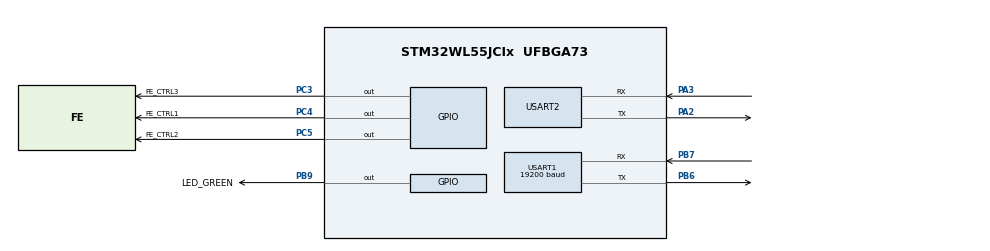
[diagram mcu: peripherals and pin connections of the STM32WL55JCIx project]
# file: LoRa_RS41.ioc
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Dma.Request0=USART1_TX
Dma.Request1=USART1_RX
Dma.Request2=USART2_RX
Dma.Request3=USART2_TX
Dma.USART1_RX.1.Channel_PRIV_NPRIV=DMA_CHANNEL_NPRIV_DISABLE
Dma.USART1_RX.1.Direction=DMA_PERIPH_TO_MEMORY
Dma.USART1_RX.1.EventEnable=DISABLE
Dma.USART1_RX.1.Instance=DMA1_Channel2
Dma.USART1_RX.1.MemDataAlignment=DMA_MDATAALIGN_BYTE
Dma.USART1_RX.1.MemInc=DMA_MINC_ENABLE
Dma.USART1_RX.1.Mode=DMA_CIRCULAR
Dma.USART1_RX.1.PeriphDataAlignment=DMA_PDATAALIGN_BYTE
Dma.USART1_RX.1.PeriphInc=DMA_PINC_DISABLE
Dma.USART1_RX.1.Polarity=HAL_DMAMUX_REQ_GEN_RISING
Dma.USART1_RX.1.Priority=DMA_PRIORITY_LOW
Dma.USART1_RX.1.RequestNumber=1
Dma.USART1_RX.1.SignalID=NONE
Dma.USART1_RX.1.SyncEnable=DISABLE
Dma.USART1_RX.1.SyncPolarity=HAL_DMAMUX_SYNC_NO_EVENT
Dma.USART1_RX.1.SyncRequestNumber=1
Dma.USART1_RX.1.SyncSignalID=NONE
Dma.USART1_TX.0.Channel_PRIV_NPRIV=DMA_CHANNEL_NPRIV_DISABLE
Dma.USART1_TX.0.Direction=DMA_MEMORY_TO_PERIPH
Dma.USART1_TX.0.EventEnable=DISABLE
Dma.USART1_TX.0.Instance=DMA1_Channel1
Dma.USART1_TX.0.MemDataAlignment=DMA_MDATAALIGN_BYTE
Dma.USART1_TX.0.MemInc=DMA_MINC_ENABLE
Dma.USART1_TX.0.Mode=DMA_CIRCULAR
Dma.USART1_TX.0.PeriphDataAlignment=DMA_PDATAALIGN_BYTE
Dma.USART1_TX.0.PeriphInc=DMA_PINC_DISABLE
Dma.USART1_TX.0.Polarity=HAL_DMAMUX_REQ_GEN_RISING
Dma.USART1_TX.0.Priority=DMA_PRIORITY_LOW
Dma.USART1_TX.0.RequestNumber=1
Dma.USART1_TX.0.SignalID=NONE
Dma.USART1_TX.0.SyncEnable=DISABLE
Dma.USART1_TX.0.SyncPolarity=HAL_DMAMUX_SYNC_NO_EVENT
Dma.USART1_TX.0.SyncRequestNumber=1
Dma.USART1_TX.0.SyncSignalID=NONE
Dma.USART2_RX.2.Channel_PRIV_NPRIV=DMA_CHANNEL_NPRIV_DISABLE
Dma.USART2_RX.2.Direction=DMA_PERIPH_TO_MEMORY
Dma.USART2_RX.2.EventEnable=DISABLE
Dma.USART2_RX.2.Instance=DMA1_Channel3
Dma.USART2_RX.2.MemDataAlignment=DMA_MDATAALIGN_BYTE
Dma.USART2_RX.2.MemInc=DMA_MINC_ENABLE
Dma.USART2_RX.2.Mode=DMA_CIRCULAR
Dma.USART2_RX.2.PeriphDataAlignment=DMA_PDATAALIGN_BYTE
Dma.USART2_RX.2.PeriphInc=DMA_PINC_DISABLE
Dma.USART2_RX.2.Polarity=HAL_DMAMUX_REQ_GEN_RISING
Dma.USART2_RX.2.Priority=DMA_PRIORITY_LOW
Dma.USART2_RX.2.RequestNumber=1
Dma.USART2_RX.2.SignalID=NONE
Dma.USART2_RX.2.SyncEnable=DISABLE
Dma.USART2_RX.2.SyncPolarity=HAL_DMAMUX_SYNC_NO_EVENT
Dma.USART2_RX.2.SyncRequestNumber=1
Dma.USART2_RX.2.SyncSignalID=NONE
Dma.USART2_TX.3.Channel_PRIV_NPRIV=DMA_CHANNEL_NPRIV_DISABLE
Dma.USART2_TX.3.Direction=DMA_MEMORY_TO_PERIPH
Dma.USART2_TX.3.EventEnable=DISABLE
Dma.USART2_TX.3.Instance=DMA1_Channel4
Dma.USART2_TX.3.MemDataAlignment=DMA_MDATAALIGN_BYTE
Dma.USART2_TX.3.MemInc=DMA_MINC_ENABLE
Dma.USART2_TX.3.Mode=DMA_CIRCULAR
Dma.USART2_TX.3.PeriphDataAlignment=DMA_PDATAALIGN_BYTE
Dma.USART2_TX.3.PeriphInc=DMA_PINC_DISABLE
Dma.USART2_TX.3.Polarity=HAL_DMAMUX_REQ_GEN_RISING
Dma.USART2_TX.3.Priority=DMA_PRIORITY_LOW
Dma.USART2_TX.3.RequestNumber=1
Dma.USART2_TX.3.SignalID=NONE
Dma.USART2_TX.3.SyncEnable=DISABLE
Dma.USART2_TX.3.SyncPolarity=HAL_DMAMUX_SYNC_NO_EVENT
Dma.USART2_TX.3.SyncRequestNumber=1
Dma.USART2_TX.3.SyncSignalID=NONE
Mcu.Family=STM32WL
Mcu.Name=STM32WL55JCIx
Mcu.Package=UFBGA73
NVIC.DMA1_Channel1_IRQn=true\:0\:0\:false\:false\:true\:false\:true\:true
NVIC.DMA1_Channel2_IRQn=true\:0\:0\:false\:false\:true\:false\:true\:true
NVIC.DMA1_Channel3_IRQn=true\:0\:0\:false\:false\:true\:false\:true\:true
NVIC.DMA1_Channel4_IRQn=true\:0\:0\:false\:false\:true\:false\:true\:true
NVIC.PriorityGroup=NVIC_PRIORITYGROUP_4
NVIC.SUBGHZ_Radio_IRQn=true\:0\:0\:false\:false\:true\:true\:true\:true
NVIC.USART1_IRQn=true\:0\:0\:false\:false\:true\:true\:true\:true
NVIC.USART2_IRQn=true\:0\:0\:false\:false\:true\:true\:true\:true
PA2.Mode=Asynchronous
PA2.Signal=USART2_TX
PA3.Mode=Asynchronous
PA3.Signal=USART2_RX
PB6.Mode=Asynchronous
PB6.Signal=USART1_TX
PB7.Mode=Asynchronous
PB7.Signal=USART1_RX
PB9.GPIO_Label=LED_GREEN
PB9.Signal=GPIO_Output
PC14-OSC32_IN.GPIO_Label=RCC_OSC32_IN
PC14-OSC32_IN.Signal=RCC_OSC32_IN
PC15-OSC32_OUT.GPIO_Label=RCC_OSC32_OUT
PC15-OSC32_OUT.Signal=RCC_OSC32_OUT
PC3.GPIO_Label=FE_CTRL3
PC3.GPIO_Speed=GPIO_SPEED_FREQ_VERY_HIGH
PC3.Signal=GPIO_Output
PC4.GPIO_Label=FE_CTRL1
PC4.GPIO_Speed=GPIO_SPEED_FREQ_VERY_HIGH
PC4.Signal=GPIO_Output
PC5.GPIO_Label=FE_CTRL2
PC5.GPIO_Speed=GPIO_SPEED_FREQ_VERY_HIGH
PC5.Signal=GPIO_Output
ProjectManager.HeapSize=0x200
ProjectManager.StackSize=0x400
ProjectManager.TargetToolchain=STM32CubeIDE
RCC.HSE_VALUE=32000000
RCC.HSI_VALUE=16000000
RCC.LSE_VALUE=32768
RCC.VCOOutputFreq_Value=32000000
USART1.BaudRate=19200
USART1.VirtualMode-Asynchronous=VM_ASYNC
USART2.VirtualMode-Asynchronous=VM_ASYNC
VP_SUBGHZ_VS_SUBGHZ.Mode=SUBGHZ_Activate
board=NUCLEO-WL55JC1

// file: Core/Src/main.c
/* USER CODE BEGIN Header */
/**
  ******************************************************************************
  * @file           : main.c
  * @brief          : Firmware da Placa 1 - LoRa_RS41 (SLAVE NODE)
  *                   Parser da Radiosonda + Resposta a Comandos LoRa
  ******************************************************************************
  */
/* USER CODE END Header */
#include "main.h"
#include "dma.h"
#include "subghz.h"
#include "usart.h"
#include "gpio.h"
#include "stm32wlxx_nucleo.h"
#include <string.h>
#include <stdio.h>
#include <stdbool.h>
#include "radio_driver.h"
#include "protocol.h"

/* USER CODE BEGIN 0 */
// Redireciona a saída do printf para a USART2 (nossa porta de debug para o PC)
int _write(int file, char *ptr, int len)
{
  HAL_UART_Transmit(&huart2, (uint8_t*)ptr, len, HAL_MAX_DELAY);
  return len;
}
/* USER CODE END 0 */

/* USER CODE BEGIN PD */
// --- Definições do Payload de Telemetria ---
typedef struct __attribute__((packed)) {
    uint32_t packet_id;
    int32_t  latitude_raw;
    int32_t  longitude_raw;
    int32_t  altitude_raw;
    uint16_t voltage_mv;
    int8_t   radio_temp_c;
    uint8_t  sats_and_fix;
} LoRaPayload_t;

// --- Parser da Radiosonda ---
const uint8_t SYNC_WORD = 0xAA;
#define TELEMETRY_PAYLOAD_SIZE sizeof(LoRaPayload_t)

enum ParserState { AWAITING_SYNC, RECEIVING_PAYLOAD, AWAITING_CHECKSUM };

#define RADIOSONDE_UART_BUFFER_SIZE 256

// --- Parâmetros LoRa ---
#define RF_FREQUENCY                                915000000 // Hz
#define TX_OUTPUT_POWER                             22        // dBm
#define LORA_BANDWIDTH                              0         // 0: 125 kHz
#define LORA_SPREADING_FACTOR                       10        // SF10
#define LORA_CODINGRATE                             4         // 4: 4/8
#define LORA_PREAMBLE_LENGTH                        8
/* USER CODE END PD */

/* USER CODE BEGIN PV */
// --- Variáveis do Parser da Radiosonda ---
uint8_t radiosonde_rx_buffer[RADIOSONDE_UART_BUFFER_SIZE];
uint16_t old_pos = 0;
uint8_t payloadBuffer[TELEMETRY_PAYLOAD_SIZE];
int byteCounter = 0;
enum ParserState currentState = AWAITING_SYNC;

// --- Variáveis da Comunicação LoRa ---
uint8_t lora_rx_buffer[MAX_PACKET_SIZE]; // Buffer para receber comandos
LoRaPayload_t latest_telemetry; // Última telemetria válida da radiosonda
volatile bool telemetry_available = false; // Flag indicando se há telemetria válida
volatile bool lora_tx_busy = false; // Flag para controlar transmissão LoRa

// Array de lookup para Bandwidth
const RadioLoRaBandwidths_t Bandwidths[] = { LORA_BW_125, LORA_BW_250, LORA_BW_500 };
/* USER CODE END PV */

void SystemClock_Config(void);
/* USER CODE BEGIN PFP */
void Radio_Init(void);
void ProcessByte(uint8_t receivedByte);
void ProcessLoRaCommand(uint8_t* buffer, uint8_t size);
void SendTelemetryResponse(void);
void SendAckResponse(uint32_t sequence_number);
uint8_t calculate_checksum(uint8_t* data, int length);
void RadioOnDioIrq(RadioIrqMasks_t radioIrq);
/* USER CODE END PFP */

int main(void)
{
  /* MCU Configuration--------------------------------------------------------*/
  HAL_Init();
  SystemClock_Config();
  MX_GPIO_Init();
  MX_DMA_Init();
  MX_USART1_UART_Init();  // UART da Radiosonda
  MX_USART2_UART_Init();  // UART de Debug para o PC
  MX_SUBGHZ_Init();

  /* USER CODE BEGIN 2 */
  BSP_LED_Init(LED_GREEN);

  printf("\r\n--- LoRa_RS41 (SLAVE NODE) ---\r\n");
  printf("Parser da Radiosonda + Resposta a Comandos LoRa\r\n");

  Radio_Init();
  printf("Radio LoRa inicializado em modo SLAVE.\r\n");

  // Inicia a recepção via DMA na USART1 (radiosonda)
  HAL_UART_Receive_DMA(&huart1, radiosonde_rx_buffer, RADIOSONDE_UART_BUFFER_SIZE);
  printf("Parser da radiosonda ativo na USART1.\r\n");

  // Coloca o rádio LoRa em modo de recepção contínua (aguardando comandos)
  SUBGRF_SetRx(0); // Timeout 0 = recepção contínua
  printf("Aguardando comandos LoRa da estacao base...\r\n");
  /* USER CODE END 2 */

  /* Infinite loop */
  /* USER CODE BEGIN WHILE */
  while (1)
  {
    // --- Processa dados da radiosonda via DMA ---
    uint16_t new_pos = RADIOSONDE_UART_BUFFER_SIZE - __HAL_DMA_GET_COUNTER(huart1.hdmarx);
    if (new_pos != old_pos)
    {
      if (new_pos > old_pos) {
        for (int i = old_pos; i < new_pos; i++) {
          ProcessByte(radiosonde_rx_buffer[i]);
        }
      } else { // Wrap-around
        for (int i = old_pos; i < RADIOSONDE_UART_BUFFER_SIZE; i++) {
          ProcessByte(radiosonde_rx_buffer[i]);
        }
        for (int i = 0; i < new_pos; i++) {
          ProcessByte(radiosonde_rx_buffer[i]);
        }
      }
      old_pos = new_pos;
    }

    // O processamento de comandos LoRa acontece nos callbacks de interrupção
    // O processador pode entrar em modo sleep para economizar energia
    HAL_PWR_EnterSLEEPMode(PWR_MAINREGULATOR_ON, PWR_SLEEPENTRY_WFI);
  }
  /* USER CODE END WHILE */
}

void SystemClock_Config(void)
{
  RCC_OscInitTypeDef RCC_OscInitStruct = {0};
  RCC_ClkInitTypeDef RCC_ClkInitStruct = {0};

  HAL_PWR_EnableBkUpAccess();
  __HAL_RCC_LSEDRIVE_CONFIG(RCC_LSEDRIVE_LOW);
  __HAL_PWR_VOLTAGESCALING_CONFIG(PWR_REGULATOR_VOLTAGE_SCALE1);

  RCC_OscInitStruct.OscillatorType = RCC_OSCILLATORTYPE_LSE|RCC_OSCILLATORTYPE_MSI;
  RCC_OscInitStruct.LSEState = RCC_LSE_ON;
  RCC_OscInitStruct.MSIState = RCC_MSI_ON;
  RCC_OscInitStruct.MSICalibrationValue = RCC_MSICALIBRATION_DEFAULT;
  RCC_OscInitStruct.MSIClockRange = RCC_MSIRANGE_11;
  RCC_OscInitStruct.PLL.PLLState = RCC_PLL_NONE;
  if (HAL_RCC_OscConfig(&RCC_OscInitStruct) != HAL_OK)
  {
    Error_Handler();
  }

  RCC_ClkInitStruct.ClockType = RCC_CLOCKTYPE_HCLK3|RCC_CLOCKTYPE_HCLK
                              |RCC_CLOCKTYPE_SYSCLK|RCC_CLOCKTYPE_PCLK1
                              |RCC_CLOCKTYPE_PCLK2;
  RCC_ClkInitStruct.SYSCLKSource = RCC_SYSCLKSOURCE_MSI;
  RCC_ClkInitStruct.AHBCLKDivider = RCC_SYSCLK_DIV1;
  RCC_ClkInitStruct.APB1CLKDivider = RCC_HCLK_DIV1;
  RCC_ClkInitStruct.APB2CLKDivider = RCC_HCLK_DIV1;
  RCC_ClkInitStruct.AHBCLK3Divider = RCC_SYSCLK_DIV1;

  if (HAL_RCC_ClockConfig(&RCC_ClkInitStruct, FLASH_LATENCY_2) != HAL_OK)
  {
    Error_Handler();
  }
}

/* USER CODE BEGIN 4 */
// --- Implementação das Funções ---

void ProcessByte(uint8_t receivedByte)
{
  switch (currentState)
  {
    case AWAITING_SYNC:
      if (receivedByte == SYNC_WORD) {
        byteCounter = 0;
        currentState = RECEIVING_PAYLOAD;
      }
      break;

    case RECEIVING_PAYLOAD:
      if (byteCounter < TELEMETRY_PAYLOAD_SIZE) {
        payloadBuffer[byteCounter++] = receivedByte;
      }
      if (byteCounter >= TELEMETRY_PAYLOAD_SIZE) {
        currentState = AWAITING_CHECKSUM;
      }
      break;

    case AWAITING_CHECKSUM:
      {
        uint8_t receivedChecksum = receivedByte;
        uint8_t calculatedChecksum = calculate_checksum(payloadBuffer, TELEMETRY_PAYLOAD_SIZE);

        if (receivedChecksum == calculatedChecksum) {
          // Atualiza a telemetria mais recente
          memcpy(&latest_telemetry, payloadBuffer, TELEMETRY_PAYLOAD_SIZE);
          telemetry_available = true;

          printf("Telemetria atualizada - ID: %lu\r\n", latest_telemetry.packet_id);
          BSP_LED_Toggle(LED_GREEN);
        } else {
          printf("Falha no Checksum radiosonda! Esperado: 0x%02X, Recebido: 0x%02X\r\n",
                 calculatedChecksum, receivedChecksum);
        }
        currentState = AWAITING_SYNC;
      }
      break;
  }
}

void SendResetCommandToRS41(void)
{
    // O pacote completo terá 5 bytes: SYNC + CMD + PARAM + LEN + CHECKSUM
    uint8_t packet_to_send[MAX_PACKET_SIZE];

    // --- Montagem do Pacote ---

    // Byte 0: Palavra de Sincronização
    packet_to_send[0] = 0xAA; //Palavra de sincronização #define CMD_SYNC_WORD   0xAA

    // Byte 1: ID do Comando (Ação)
    packet_to_send[1] = 0x04; // ID do comando #define CMD_EXECUTE     0x04

    // Byte 2: ID do Parâmetro (Alvo)
    packet_to_send[2] = 0x01; // ID da ação específica #define PARAM_MCU_RESET 0x01

    // Byte 3: Comprimento do Payload de Dados (0 para este comando)
    packet_to_send[3] = 0x00;

    // --- Cálculo do Checksum ---
    // O checksum é calculado sobre os bytes do payload: CMD_ID, PARAM_ID e LEN.
    // Portanto, calculamos sobre 3 bytes, começando do índice 1 do nosso buffer.
    uint8_t checksum = calculate_checksum(&packet_to_send[1], 3);

    // Byte 4: Checksum
    packet_to_send[4] = checksum;

    // --- Transmissão via UART ---
    printf("Enviando comando de RESET para a RS41 via UART...\r\n");
    HAL_UART_Transmit(&huart1, packet_to_send, sizeof(packet_to_send), HAL_MAX_DELAY);
}

void SendResetResponse(void)
{
    if (lora_tx_busy) {
        printf("WARN: Radio ocupado, resposta descartada.\r\n");
        return;
    }

    lora_tx_busy = true;
    printf("Enviando comando de reset - ID: %lu\r\n", latest_telemetry.packet_id);

    // --- LÓGICA CORRIGIDA ---

    // 1. Crie um buffer de transmissão na pilha com o tamanho MÁXIMO padronizado.
    //    Esta é a correção crucial. Agora 'tx_buffer' é um array real com memória alocada.
    uint8_t tx_buffer[TELEMETRY_PAYLOAD_SIZE];
    // 2. Limpe o buffer com zeros para garantir que o padding seja 0x00.
    memset(tx_buffer, 0, TELEMETRY_PAYLOAD_SIZE);

    // 3. Copie os dados de telemetria reais para o início do buffer maior.
    memcpy(tx_buffer, &latest_telemetry, TELEMETRY_PAYLOAD_SIZE); // Use sizeof() para segurança

    // 4. Configure o rádio para enviar um pacote do tamanho MÁXIMO.
    PacketParams_t packetParams;
    packetParams.PacketType = PACKET_TYPE_LORA;
    packetParams.Params.LoRa.PreambleLength = LORA_PREAMBLE_LENGTH;
    packetParams.Params.LoRa.HeaderType = LORA_PACKET_FIXED_LENGTH;
    packetParams.Params.LoRa.PayloadLength = TELEMETRY_PAYLOAD_SIZE;
    packetParams.Params.LoRa.CrcMode = LORA_CRC_ON;
    packetParams.Params.LoRa.InvertIQ = LORA_IQ_NORMAL;
    SUBGRF_SetPacketParams(&packetParams);

    // 5. Envie o buffer completo de tamanho máximo.
    SUBGRF_SendPayload(tx_buffer, TELEMETRY_PAYLOAD_SIZE, 0);
}

void SendTelemetryResponse(void)
{
    if (lora_tx_busy) {
        printf("WARN: Radio ocupado, resposta descartada.\r\n");
        return;
    }

    if (!telemetry_available) {
        printf("WARN: Nenhuma telemetria disponível.\r\n");
        return;
    }

    lora_tx_busy = true;
    printf("Enviando telemetria - ID: %lu\r\n", latest_telemetry.packet_id);

    // --- LÓGICA CORRIGIDA ---

    // 1. Crie um buffer de transmissão na pilha com o tamanho MÁXIMO padronizado.
    //    Esta é a correção crucial. Agora 'tx_buffer' é um array real com memória alocada.
    uint8_t tx_buffer[TELEMETRY_PAYLOAD_SIZE];

    // 2. Limpe o buffer com zeros para garantir que o padding seja 0x00.
//    memset(tx_buffer, 0, TELEMETRY_PAYLOAD_SIZE);

    // 3. Copie os dados de telemetria reais para o início do buffer maior.
    memcpy(tx_buffer, &latest_telemetry, TELEMETRY_PAYLOAD_SIZE); // Use sizeof() para segurança

    // 4. Configure o rádio para enviar um pacote do tamanho MÁXIMO.
    PacketParams_t packetParams;
    packetParams.PacketType = PACKET_TYPE_LORA;
    packetParams.Params.LoRa.PreambleLength = LORA_PREAMBLE_LENGTH;
    packetParams.Params.LoRa.HeaderType = LORA_PACKET_FIXED_LENGTH;
    packetParams.Params.LoRa.PayloadLength = TELEMETRY_PAYLOAD_SIZE;
    packetParams.Params.LoRa.CrcMode = LORA_CRC_ON;
    packetParams.Params.LoRa.InvertIQ = LORA_IQ_NORMAL;
    SUBGRF_SetPacketParams(&packetParams);

    // 5. Envie o buffer completo de tamanho máximo.
    SUBGRF_SendPayload(tx_buffer, TELEMETRY_PAYLOAD_SIZE, 0);
}

void ProcessLoRaCommand(uint8_t* buffer, uint8_t size)
{
    if (size != MAX_PACKET_SIZE) {
        printf("ERRO: Comando LoRa com tamanho inválido: %d\r\n", size);
        return;
    }

    CommandPacket_t* command = (CommandPacket_t*)buffer;

    printf("Comando recebido: %d, Seq: %lu\r\n", command->command_type, command->sequence_number);

    switch (command->command_type)
    {
        case CMD_TYPE_REQUEST:
            printf("Processando pedido de telemetria...\r\n");
            SendTelemetryResponse();
            break;

        case CMD_TYPE_EXECUTE:
			printf("Processando pedido de reset...\r\n");
			SendResetCommandToRS41();
			SendResetResponse();
			break;

        default:
            printf("WARN: Comando desconhecido: %d\r\n", command->command_type);
            break;
    }
}

void Radio_Init(void)
{
    SUBGRF_Init(RadioOnDioIrq);

    SUBGRF_SetStandby(STDBY_RC);
    SUBGRF_SetPacketType(PACKET_TYPE_LORA);
    SUBGRF_SetRfFrequency(RF_FREQUENCY);
    SUBGRF_SetRfTxPower(TX_OUTPUT_POWER);

    ModulationParams_t modulationParams;
    modulationParams.PacketType = PACKET_TYPE_LORA;
    modulationParams.Params.LoRa.SpreadingFactor = LORA_SPREADING_FACTOR;
    modulationParams.Params.LoRa.Bandwidth = Bandwidths[LORA_BANDWIDTH];
    modulationParams.Params.LoRa.CodingRate = LORA_CODINGRATE;
    modulationParams.Params.LoRa.LowDatarateOptimize = 0x00;
    SUBGRF_SetModulationParams(&modulationParams);

    // Configuração inicial para receber comandos
    PacketParams_t packetParams;
    packetParams.PacketType = PACKET_TYPE_LORA;
    packetParams.Params.LoRa.PreambleLength = LORA_PREAMBLE_LENGTH;
    packetParams.Params.LoRa.HeaderType = LORA_PACKET_FIXED_LENGTH;
    packetParams.Params.LoRa.PayloadLength = MAX_PACKET_SIZE; // Inicialmente configurado para comandos
    packetParams.Params.LoRa.CrcMode = LORA_CRC_ON;
    packetParams.Params.LoRa.InvertIQ = LORA_IQ_NORMAL;
    SUBGRF_SetPacketParams(&packetParams);

    // Configura interrupções para RX e TX
    SUBGRF_SetDioIrqParams(IRQ_RX_DONE | IRQ_TX_DONE | IRQ_CRC_ERROR | IRQ_RX_TX_TIMEOUT,
                           IRQ_RX_DONE | IRQ_TX_DONE | IRQ_CRC_ERROR | IRQ_RX_TX_TIMEOUT,
                           IRQ_RADIO_NONE, IRQ_RADIO_NONE);
}

void RadioOnDioIrq(RadioIrqMasks_t radioIrq)
{

    switch (radioIrq)
    {
        case IRQ_RX_DONE:
            {
                uint8_t received_size = 0;
                PacketStatus_t packetStatus;

                SUBGRF_GetPayload(lora_rx_buffer, &received_size, sizeof(lora_rx_buffer));
                SUBGRF_GetPacketStatus(&packetStatus);

                printf("Comando LoRa recebido! RSSI: %d dBm, SNR: %d, Size: %d\r\n",
                       packetStatus.Params.LoRa.RssiPkt, packetStatus.Params.LoRa.SnrPkt, received_size);
                ProcessLoRaCommand(lora_rx_buffer, received_size);
            }
            break;

        case IRQ_TX_DONE:
            printf("LoRa TX concluida.\r\n");
            lora_tx_busy = false;

            // Reconfigura para receber comandos novamente
            PacketParams_t packetParams;
            packetParams.PacketType = PACKET_TYPE_LORA;
            packetParams.Params.LoRa.PreambleLength = LORA_PREAMBLE_LENGTH;
            packetParams.Params.LoRa.HeaderType = LORA_PACKET_FIXED_LENGTH;
            packetParams.Params.LoRa.PayloadLength = MAX_PACKET_SIZE;
            packetParams.Params.LoRa.CrcMode = LORA_CRC_ON;
            packetParams.Params.LoRa.InvertIQ = LORA_IQ_NORMAL;
            SUBGRF_SetPacketParams(&packetParams);

            // Volta para modo de recepção contínua
            SUBGRF_SetRx(0);
            break;

        case IRQ_CRC_ERROR:
            printf("WARN: Erro de CRC no comando LoRa.\r\n");
            // Reconfigura para comandos e volta a escutar
            PacketParams_t packetParamsCrc;
            packetParamsCrc.PacketType = PACKET_TYPE_LORA;
            packetParamsCrc.Params.LoRa.PreambleLength = LORA_PREAMBLE_LENGTH;
            packetParamsCrc.Params.LoRa.HeaderType = LORA_PACKET_FIXED_LENGTH;
            packetParamsCrc.Params.LoRa.PayloadLength = MAX_PACKET_SIZE;
            packetParamsCrc.Params.LoRa.CrcMode = LORA_CRC_ON;
            packetParamsCrc.Params.LoRa.InvertIQ = LORA_IQ_NORMAL;
            SUBGRF_SetPacketParams(&packetParamsCrc);
            SUBGRF_SetRx(0);
            break;

        case IRQ_RX_TX_TIMEOUT:
            printf("WARN: LoRa timeout.\r\n");
            lora_tx_busy = false;
            // Reconfigura para comandos e volta a escutar
            PacketParams_t packetParamsTimeout;
            packetParamsTimeout.PacketType = PACKET_TYPE_LORA;
            packetParamsTimeout.Params.LoRa.PreambleLength = LORA_PREAMBLE_LENGTH;
            packetParamsTimeout.Params.LoRa.HeaderType = LORA_PACKET_FIXED_LENGTH;
            packetParamsTimeout.Params.LoRa.PayloadLength = MAX_PACKET_SIZE;
            packetParamsTimeout.Params.LoRa.CrcMode = LORA_CRC_ON;
            packetParamsTimeout.Params.LoRa.InvertIQ = LORA_IQ_NORMAL;
            SUBGRF_SetPacketParams(&packetParamsTimeout);
            SUBGRF_SetRx(0);
            break;

        default:
            break;
    }
}

uint8_t calculate_checksum(uint8_t* data, int length)
{
    uint8_t checksum = 0;
    for (int i = 0; i < length; i++) {
        checksum ^= data[i];
    }
    return checksum;
}
/* USER CODE END 4 */

void Error_Handler(void)
{
  __disable_irq();
  while (1)
  {
  }
}
